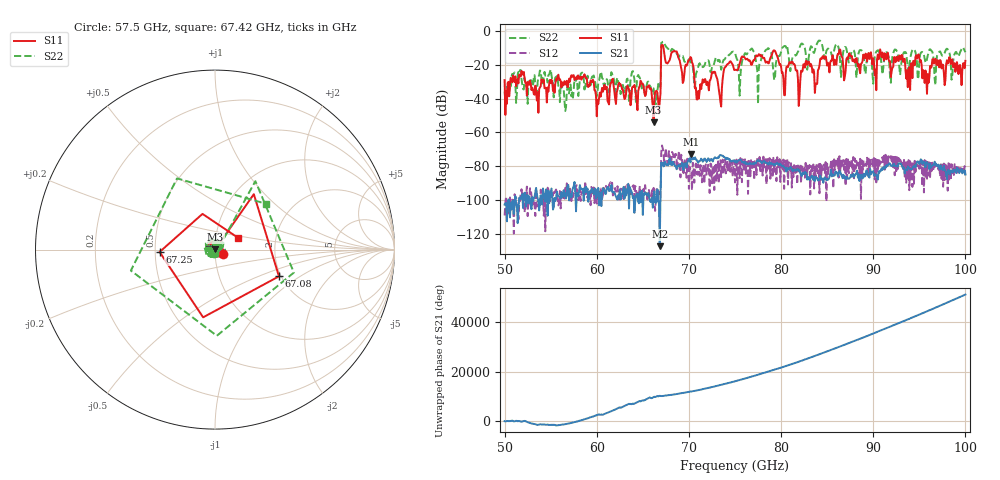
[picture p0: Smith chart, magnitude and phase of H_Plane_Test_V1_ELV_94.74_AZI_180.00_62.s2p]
! 11/27/2026 8:43:08 AM
! C:\ANRITSUVNA\TEMP\TEMP.S2P
! CHANNEL.1
! TR.MEASUREMENT
! RAW.DATA
# HZ S RI R 50.0
! FREQ.HZ  S11RE  S11IM  S21RE  S21IM  S12RE  S12IM  S22RE  S22IM
!; PortSelection: Port_12
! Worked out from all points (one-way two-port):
!   601 points, 50 GHz to 100 GHz, reference 50 ohm
!   highest |S21| = -72.92 dB at 70.25 GHz (marker M1); lowest = -127.4 dB at 66.83 GHz (marker M2)
!   lowest |S11| = -54.1 dB at 66.17 GHz (marker M3), VSWR 1.00, Z = 50.1 + j0.143 ohm
!   |S11| at or under -10 dB: start of sweep to 67 GHz; 67.24 GHz to end of sweep
!   |S22| runs from -47.4 to -5.6 dB; largest |S21 - S12| = 0.00042
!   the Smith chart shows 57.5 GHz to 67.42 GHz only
!   S11 on the Smith chart (normalised r, x): 57.5 GHz: 1.09, -0.05; 67.08 GHz: 1.95, -0.68; 67.25 GHz: 0.53, -0.02; 67.42 GHz: 1.29, +0.17
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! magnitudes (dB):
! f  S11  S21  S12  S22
! 50 GHz  -29.1  -102.8  -109.2  -35.9
! 51.67 GHz  -26.3  -98.7  -100.9  -23.3
! 53.42 GHz  -34.9  -92.9  -94.1  -35.7
! 57.5 GHz  -26.2  -92.0  -95.9  -34.6
! 58.42 GHz  -27.1  -94.1  -95.2  -24.6
! 60.17 GHz  -43.2  -92.9  -99.5  -30.2
! 66.17 GHz  -54.1  -96.5  -92.9  -34.0
! 66.67 GHz  -41.8  -99.7  -94.3  -31.6
! 66.83 GHz  -41.9  -127.4  -95.7  -32.9
! 67.08 GHz  -8.3  -78.5  -67.8  -6.8
! 67.25 GHz  -10.2  -80.2  -72.4  -6.3
! 67.42 GHz  -16.7  -77.7  -73.1  -8.4
! 70.25 GHz  -16.0  -72.9  -82.6  -18.8
! 70.92 GHz  -40.6  -77.2  -85.1  -23.0
! 75 GHz  -23.1  -77.8  -89.7  -13.0
! 79.25 GHz  -11.4  -78.9  -83.4  -29.0
! 80.25 GHz  -28.0  -79.7  -76.2  -9.3
! 83.42 GHz  -24.6  -87.4  -83.0  -10.9
! 91.67 GHz  -16.8  -79.0  -73.7  -15.3
! 94.83 GHz  -14.8  -77.2  -78.4  -28.6
! 95.83 GHz  -37.2  -77.7  -87.5  -16.5
! 100 GHz  -17.7  -84.9  -85.5  -12.6
